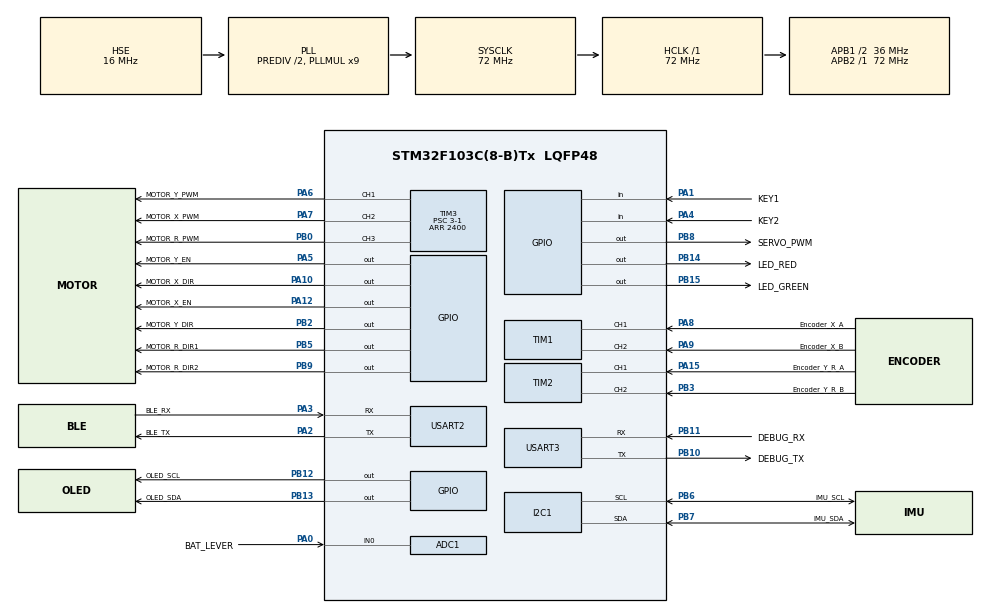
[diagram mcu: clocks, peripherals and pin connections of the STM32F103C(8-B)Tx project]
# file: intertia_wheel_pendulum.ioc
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ADC1.Channel-0\#ChannelRegularConversion=ADC_CHANNEL_0
ADC1.NbrOfConversionFlag=1
ADC1.Rank-0\#ChannelRegularConversion=1
ADC1.SamplingTime-0\#ChannelRegularConversion=ADC_SAMPLETIME_1CYCLE_5
ADC1.master=1
I2C1.I2C_Mode=I2C_Fast
Mcu.Family=STM32F1
Mcu.Name=STM32F103C(8-B)Tx
Mcu.Package=LQFP48
NVIC.PriorityGroup=NVIC_PRIORITYGROUP_4
NVIC.TIM4_IRQn=true\:0\:0\:false\:false\:true\:true\:true
PA0-WKUP.GPIO_Label=BAT_LEVER
PA0-WKUP.Signal=ADCx_IN0
PA1.GPIO_Label=KEY1
PA1.GPIO_PuPd=GPIO_PULLUP
PA1.Signal=GPIO_Input
PA10.GPIO_Label=MOTOR_X_DIR
PA10.Signal=GPIO_Output
PA12.GPIO_Label=MOTOR_X_EN
PA12.Signal=GPIO_Output
PA13.Mode=Serial_Wire
PA13.Signal=SYS_JTMS-SWDIO
PA14.Mode=Serial_Wire
PA14.Signal=SYS_JTCK-SWCLK
PA15.GPIO_Label=Encoder_Y_R_A
PA15.Signal=S_TIM2_CH1_ETR
PA2.GPIO_Label=BLE_TX
PA2.Mode=Asynchronous
PA2.Signal=USART2_TX
PA3.GPIO_Label=BLE_RX
PA3.Mode=Asynchronous
PA3.Signal=USART2_RX
PA4.GPIO_Label=KEY2
PA4.GPIO_PuPd=GPIO_PULLUP
PA4.Signal=GPIO_Input
PA5.GPIO_Label=MOTOR_Y_EN
PA5.Signal=GPIO_Output
PA6.GPIO_Label=MOTOR_Y_PWM
PA6.Signal=S_TIM3_CH1
PA7.GPIO_Label=MOTOR_X_PWM
PA7.Signal=S_TIM3_CH2
PA8.GPIO_Label=Encoder_X_A
PA8.Signal=S_TIM1_CH1
PA9.GPIO_Label=Encoder_X_B
PA9.Signal=S_TIM1_CH2
PB0.GPIO_Label=MOTOR_R_PWM
PB0.Signal=S_TIM3_CH3
PB10.GPIO_Label=DEBUG_TX
PB10.Mode=Asynchronous
PB10.Signal=USART3_TX
PB11.GPIO_Label=DEBUG_RX
PB11.Mode=Asynchronous
PB11.Signal=USART3_RX
PB12.GPIO_Label=OLED_SCL
PB12.GPIO_ModeDefaultOutputPP=GPIO_MODE_OUTPUT_OD
PB12.Signal=GPIO_Output
PB13.GPIO_Label=OLED_SDA
PB13.GPIO_ModeDefaultOutputPP=GPIO_MODE_OUTPUT_OD
PB13.Signal=GPIO_Output
PB14.GPIO_Label=LED_RED
PB14.Signal=GPIO_Output
PB15.GPIO_Label=LED_GREEN
PB15.Signal=GPIO_Output
PB2.GPIO_Label=MOTOR_Y_DIR
PB2.Signal=GPIO_Output
PB3.GPIO_Label=Encoder_Y_R_B
PB3.Signal=S_TIM2_CH2
PB5.GPIO_Label=MOTOR_R_DIR1
PB5.Signal=GPIO_Output
PB6.GPIO_Label=IMU_SCL
PB6.Mode=I2C
PB6.Signal=I2C1_SCL
PB7.GPIO_Label=IMU_SDA
PB7.Mode=I2C
PB7.Signal=I2C1_SDA
PB8.GPIO_Label=SERVO_PWM
PB8.Signal=GPIO_Output
PB9.GPIO_Label=MOTOR_R_DIR2
PB9.Signal=GPIO_Output
PD0-OSC_IN.Mode=HSE-External-Oscillator
PD0-OSC_IN.Signal=RCC_OSC_IN
PD1-OSC_OUT.Mode=HSE-External-Oscillator
PD1-OSC_OUT.Signal=RCC_OSC_OUT
ProjectManager.HeapSize=0x200
ProjectManager.StackSize=0x400
ProjectManager.TargetToolchain=MDK-ARM V5.27
RCC.ADCPresc=RCC_ADCPCLK2_DIV6
RCC.AHBFreq_Value=72000000
RCC.APB1CLKDivider=RCC_HCLK_DIV2
RCC.APB1Freq_Value=36000000
RCC.APB1TimFreq_Value=72000000
RCC.APB2Freq_Value=72000000
RCC.APB2TimFreq_Value=72000000
RCC.HCLKFreq_Value=72000000
RCC.HSEDivPLL=RCC_HSE_PREDIV_DIV2
RCC.HSE_VALUE=16000000
RCC.PLLMUL=RCC_PLL_MUL9
RCC.PLLSourceVirtual=RCC_PLLSOURCE_HSE
RCC.SYSCLKFreq_VALUE=72000000
RCC.SYSCLKSource=RCC_SYSCLKSOURCE_PLLCLK
RCC.USBFreq_Value=72000000
SH.ADCx_IN0.0=ADC1_IN0,IN0
SH.S_TIM1_CH1.0=TIM1_CH1,Encoder_Interface
SH.S_TIM1_CH2.0=TIM1_CH2,Encoder_Interface
SH.S_TIM2_CH1_ETR.0=TIM2_CH1,Encoder_Interface
SH.S_TIM2_CH2.0=TIM2_CH2,Encoder_Interface
SH.S_TIM3_CH1.0=TIM3_CH1,PWM Generation1 CH1
SH.S_TIM3_CH2.0=TIM3_CH2,PWM Generation2 CH2
SH.S_TIM3_CH3.0=TIM3_CH3,PWM Generation3 CH3
TIM3.Channel-PWM\ Generation1\ CH1=TIM_CHANNEL_1
TIM3.Channel-PWM\ Generation2\ CH2=TIM_CHANNEL_2
TIM3.Channel-PWM\ Generation3\ CH3=TIM_CHANNEL_3
TIM3.Period=2400
TIM3.Prescaler=3-1
TIM4.Period=1000
TIM4.Prescaler=72-1
USART2.VirtualMode=VM_ASYNC
USART3.VirtualMode=VM_ASYNC
VP_TIM4_VS_ClockSourceINT.Mode=Internal
board=custom

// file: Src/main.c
/* USER CODE BEGIN Header */
/**
  ******************************************************************************
  * @file           : main.c
  * @brief          : Main program body
  ******************************************************************************
  * @attention
  *
  * <h2><center>&copy; Copyright (c) 2020 STMicroelectronics.
  * All rights reserved.</center></h2>
  *
  * This software component is licensed by ST under BSD 3-Clause license,
  * the "License"; You may not use this file except in compliance with the
  * License. You may obtain a copy of the License at:
  *                        opensource.org/licenses/BSD-3-Clause
  *
  ******************************************************************************
  */
/* USER CODE END Header */
#include "main.h"

/* USER CODE BEGIN Includes */
#include "sdk_include.h"
#include "system_adapter.h"

#include "motor_ctrl.h"
/* USER CODE END Includes */

ADC_HandleTypeDef hadc1;

I2C_HandleTypeDef hi2c1;

TIM_HandleTypeDef htim1;
TIM_HandleTypeDef htim2;
TIM_HandleTypeDef htim3;
TIM_HandleTypeDef htim4;

UART_HandleTypeDef huart2;
UART_HandleTypeDef huart3;

void SystemClock_Config(void);
static void MX_GPIO_Init(void);
static void MX_ADC1_Init(void);
static void MX_TIM1_Init(void);
static void MX_TIM2_Init(void);
static void MX_TIM3_Init(void);
static void MX_TIM4_Init(void);
static void MX_USART2_UART_Init(void);
static void MX_I2C1_Init(void);
static void MX_USART3_UART_Init(void);

int main(void)
{

    /* MCU Configuration--------------------------------------------------------*/

    /* Reset of all peripherals, Initializes the Flash interface and the Systick. */
    HAL_Init();

    /* Configure the system clock */
    SystemClock_Config();

    /* Initialize all configured peripherals */
    MX_GPIO_Init();
    MX_ADC1_Init();
    MX_TIM1_Init();
    MX_TIM2_Init();
    MX_TIM3_Init();
    MX_TIM4_Init();
    MX_USART2_UART_Init();
    MX_I2C1_Init();
    MX_USART3_UART_Init();
    /* USER CODE BEGIN 2 */
    delay_adapter_init(&g_delay_adapter);
    key_adapter_init(&g_key_adapter);
    led_adapter_init(&g_led_adapter);
    mpu6050_adapter_init(&g_mpu6050_adapter);
    oled_adapter_init(&g_oled_adapter);
    motor_adapter_init(&g_motor_adapter);

    HAL_TIM_Base_Start_IT(&htim4);
    /* USER CODE END 2 */

    /* Infinite loop */
    /* USER CODE BEGIN WHILE */
    OLED_ColorTurn(0);//0������ʾ��1 ��ɫ��ʾ
    OLED_DisplayTurn(0);//0������ʾ 1 ��Ļ��ת��ʾ
    OLED_ShowString(20, 0,"Balance",8,1);
    OLED_ShowString(25, 8,"Board",8,1);
    OLED_ShowString(34, 16,"YJ",8,1);
    OLED_Refresh();

//    motor_pwm_set(MOTOR_NO_X, 300);
//    motor_pwm_set(MOTOR_NO_Y, 300);

//    bool dir = 0;

    while (1)
    {
//        dir = !dir;
//        motor_dir(MOTOR_NO_X, dir);
//        motor_dir(MOTOR_NO_Y, dir);

        set_led_state(0, true);
        sdk_delay_ms(1);
        set_led_state(0, false);
        sdk_delay_ms(999);

        OLED_ShowString(55, 24,"*",8,1);
        sdk_delay_ms(500);
        OLED_Refresh();
        OLED_ShowString(55, 24," ",8,1);
        sdk_delay_ms(500);
        OLED_Refresh();
        /* USER CODE END WHILE */

    }
}

/* USER CODE BEGIN 0 */
void HAL_TIM_PeriodElapsedCallback(TIM_HandleTypeDef *htim)
{
    get_att(100);

    speed_control(0);
    angle_control(0);

    speed_control(1);
    angle_control(1);
}
/* USER CODE END 0 */

void SystemClock_Config(void)
{
    RCC_OscInitTypeDef RCC_OscInitStruct = {0};
    RCC_ClkInitTypeDef RCC_ClkInitStruct = {0};
    RCC_PeriphCLKInitTypeDef PeriphClkInit = {0};

    /** Initializes the RCC Oscillators according to the specified parameters
    * in the RCC_OscInitTypeDef structure.
    */
    RCC_OscInitStruct.OscillatorType = RCC_OSCILLATORTYPE_HSE;
    RCC_OscInitStruct.HSEState = RCC_HSE_ON;
    RCC_OscInitStruct.HSEPredivValue = RCC_HSE_PREDIV_DIV2;
    RCC_OscInitStruct.HSIState = RCC_HSI_ON;
    RCC_OscInitStruct.PLL.PLLState = RCC_PLL_ON;
    RCC_OscInitStruct.PLL.PLLSource = RCC_PLLSOURCE_HSE;
    RCC_OscInitStruct.PLL.PLLMUL = RCC_PLL_MUL9;
    if (HAL_RCC_OscConfig(&RCC_OscInitStruct) != HAL_OK)
    {
        Error_Handler();
    }
    /** Initializes the CPU, AHB and APB buses clocks
    */
    RCC_ClkInitStruct.ClockType = RCC_CLOCKTYPE_HCLK|RCC_CLOCKTYPE_SYSCLK
                                  |RCC_CLOCKTYPE_PCLK1|RCC_CLOCKTYPE_PCLK2;
    RCC_ClkInitStruct.SYSCLKSource = RCC_SYSCLKSOURCE_PLLCLK;
    RCC_ClkInitStruct.AHBCLKDivider = RCC_SYSCLK_DIV1;
    RCC_ClkInitStruct.APB1CLKDivider = RCC_HCLK_DIV2;
    RCC_ClkInitStruct.APB2CLKDivider = RCC_HCLK_DIV1;

    if (HAL_RCC_ClockConfig(&RCC_ClkInitStruct, FLASH_LATENCY_2) != HAL_OK)
    {
        Error_Handler();
    }
    PeriphClkInit.PeriphClockSelection = RCC_PERIPHCLK_ADC;
    PeriphClkInit.AdcClockSelection = RCC_ADCPCLK2_DIV6;
    if (HAL_RCCEx_PeriphCLKConfig(&PeriphClkInit) != HAL_OK)
    {
        Error_Handler();
    }
}

static void MX_ADC1_Init(void)
{

    ADC_ChannelConfTypeDef sConfig = {0};

    /** Common config
    */
    hadc1.Instance = ADC1;
    hadc1.Init.ScanConvMode = ADC_SCAN_DISABLE;
    hadc1.Init.ContinuousConvMode = DISABLE;
    hadc1.Init.DiscontinuousConvMode = DISABLE;
    hadc1.Init.ExternalTrigConv = ADC_SOFTWARE_START;
    hadc1.Init.DataAlign = ADC_DATAALIGN_RIGHT;
    hadc1.Init.NbrOfConversion = 1;
    if (HAL_ADC_Init(&hadc1) != HAL_OK)
    {
        Error_Handler();
    }
    /** Configure Regular Channel
    */
    sConfig.Channel = ADC_CHANNEL_0;
    sConfig.Rank = ADC_REGULAR_RANK_1;
    sConfig.SamplingTime = ADC_SAMPLETIME_1CYCLE_5;
    if (HAL_ADC_ConfigChannel(&hadc1, &sConfig) != HAL_OK)
    {
        Error_Handler();
    }

}

static void MX_I2C1_Init(void)
{

    hi2c1.Instance = I2C1;
    hi2c1.Init.ClockSpeed = 400000;
    hi2c1.Init.DutyCycle = I2C_DUTYCYCLE_2;
    hi2c1.Init.OwnAddress1 = 0;
    hi2c1.Init.AddressingMode = I2C_ADDRESSINGMODE_7BIT;
    hi2c1.Init.DualAddressMode = I2C_DUALADDRESS_DISABLE;
    hi2c1.Init.OwnAddress2 = 0;
    hi2c1.Init.GeneralCallMode = I2C_GENERALCALL_DISABLE;
    hi2c1.Init.NoStretchMode = I2C_NOSTRETCH_DISABLE;
    if (HAL_I2C_Init(&hi2c1) != HAL_OK)
    {
        Error_Handler();
    }

}

static void MX_TIM1_Init(void)
{

    TIM_Encoder_InitTypeDef sConfig = {0};
    TIM_MasterConfigTypeDef sMasterConfig = {0};

    htim1.Instance = TIM1;
    htim1.Init.Prescaler = 0;
    htim1.Init.CounterMode = TIM_COUNTERMODE_UP;
    htim1.Init.Period = 65535;
    htim1.Init.ClockDivision = TIM_CLOCKDIVISION_DIV1;
    htim1.Init.RepetitionCounter = 0;
    htim1.Init.AutoReloadPreload = TIM_AUTORELOAD_PRELOAD_DISABLE;
    sConfig.EncoderMode = TIM_ENCODERMODE_TI1;
    sConfig.IC1Polarity = TIM_ICPOLARITY_RISING;
    sConfig.IC1Selection = TIM_ICSELECTION_DIRECTTI;
    sConfig.IC1Prescaler = TIM_ICPSC_DIV1;
    sConfig.IC1Filter = 0;
    sConfig.IC2Polarity = TIM_ICPOLARITY_RISING;
    sConfig.IC2Selection = TIM_ICSELECTION_DIRECTTI;
    sConfig.IC2Prescaler = TIM_ICPSC_DIV1;
    sConfig.IC2Filter = 0;
    if (HAL_TIM_Encoder_Init(&htim1, &sConfig) != HAL_OK)
    {
        Error_Handler();
    }
    sMasterConfig.MasterOutputTrigger = TIM_TRGO_RESET;
    sMasterConfig.MasterSlaveMode = TIM_MASTERSLAVEMODE_DISABLE;
    if (HAL_TIMEx_MasterConfigSynchronization(&htim1, &sMasterConfig) != HAL_OK)
    {
        Error_Handler();
    }
    /* USER CODE BEGIN TIM1_Init 2 */
    HAL_TIM_Encoder_Start(&htim1, TIM_CHANNEL_ALL);
    /* USER CODE END TIM1_Init 2 */

}

static void MX_TIM2_Init(void)
{

    TIM_Encoder_InitTypeDef sConfig = {0};
    TIM_MasterConfigTypeDef sMasterConfig = {0};

    htim2.Instance = TIM2;
    htim2.Init.Prescaler = 0;
    htim2.Init.CounterMode = TIM_COUNTERMODE_UP;
    htim2.Init.Period = 65535;
    htim2.Init.ClockDivision = TIM_CLOCKDIVISION_DIV1;
    htim2.Init.AutoReloadPreload = TIM_AUTORELOAD_PRELOAD_DISABLE;
    sConfig.EncoderMode = TIM_ENCODERMODE_TI1;
    sConfig.IC1Polarity = TIM_ICPOLARITY_RISING;
    sConfig.IC1Selection = TIM_ICSELECTION_DIRECTTI;
    sConfig.IC1Prescaler = TIM_ICPSC_DIV1;
    sConfig.IC1Filter = 0;
    sConfig.IC2Polarity = TIM_ICPOLARITY_RISING;
    sConfig.IC2Selection = TIM_ICSELECTION_DIRECTTI;
    sConfig.IC2Prescaler = TIM_ICPSC_DIV1;
    sConfig.IC2Filter = 0;
    if (HAL_TIM_Encoder_Init(&htim2, &sConfig) != HAL_OK)
    {
        Error_Handler();
    }
    sMasterConfig.MasterOutputTrigger = TIM_TRGO_RESET;
    sMasterConfig.MasterSlaveMode = TIM_MASTERSLAVEMODE_DISABLE;
    if (HAL_TIMEx_MasterConfigSynchronization(&htim2, &sMasterConfig) != HAL_OK)
    {
        Error_Handler();
    }
    /* USER CODE BEGIN TIM2_Init 2 */
    HAL_TIM_Encoder_Start(&htim2, TIM_CHANNEL_ALL);
    /* USER CODE END TIM2_Init 2 */

}

static void MX_TIM3_Init(void)
{

    TIM_MasterConfigTypeDef sMasterConfig = {0};
    TIM_OC_InitTypeDef sConfigOC = {0};

    htim3.Instance = TIM3;
    htim3.Init.Prescaler = 3-1;
    htim3.Init.CounterMode = TIM_COUNTERMODE_UP;
    htim3.Init.Period = 2400;
    htim3.Init.ClockDivision = TIM_CLOCKDIVISION_DIV1;
    htim3.Init.AutoReloadPreload = TIM_AUTORELOAD_PRELOAD_DISABLE;
    if (HAL_TIM_PWM_Init(&htim3) != HAL_OK)
    {
        Error_Handler();
    }
    sMasterConfig.MasterOutputTrigger = TIM_TRGO_RESET;
    sMasterConfig.MasterSlaveMode = TIM_MASTERSLAVEMODE_DISABLE;
    if (HAL_TIMEx_MasterConfigSynchronization(&htim3, &sMasterConfig) != HAL_OK)
    {
        Error_Handler();
    }
    sConfigOC.OCMode = TIM_OCMODE_PWM1;
    sConfigOC.Pulse = 0;
    sConfigOC.OCPolarity = TIM_OCPOLARITY_LOW;
    sConfigOC.OCFastMode = TIM_OCFAST_DISABLE;
    if (HAL_TIM_PWM_ConfigChannel(&htim3, &sConfigOC, TIM_CHANNEL_1) != HAL_OK)
    {
        Error_Handler();
    }
    if (HAL_TIM_PWM_ConfigChannel(&htim3, &sConfigOC, TIM_CHANNEL_2) != HAL_OK)
    {
        Error_Handler();
    }
    if (HAL_TIM_PWM_ConfigChannel(&htim3, &sConfigOC, TIM_CHANNEL_3) != HAL_OK)
    {
        Error_Handler();
    }
    /* USER CODE BEGIN TIM3_Init 2 */
    HAL_TIM_PWM_Start(&htim3, TIM_CHANNEL_1);
    HAL_TIM_PWM_Start(&htim3, TIM_CHANNEL_2);
    HAL_TIM_PWM_Start(&htim3, TIM_CHANNEL_3);
    /* USER CODE END TIM3_Init 2 */
    HAL_TIM_MspPostInit(&htim3);

}

static void MX_TIM4_Init(void)
{

    TIM_ClockConfigTypeDef sClockSourceConfig = {0};
    TIM_MasterConfigTypeDef sMasterConfig = {0};

    htim4.Instance = TIM4;
    htim4.Init.Prescaler = 72-1;
    htim4.Init.CounterMode = TIM_COUNTERMODE_UP;
    htim4.Init.Period = 1000;
    htim4.Init.ClockDivision = TIM_CLOCKDIVISION_DIV1;
    htim4.Init.AutoReloadPreload = TIM_AUTORELOAD_PRELOAD_DISABLE;
    if (HAL_TIM_Base_Init(&htim4) != HAL_OK)
    {
        Error_Handler();
    }
    sClockSourceConfig.ClockSource = TIM_CLOCKSOURCE_INTERNAL;
    if (HAL_TIM_ConfigClockSource(&htim4, &sClockSourceConfig) != HAL_OK)
    {
        Error_Handler();
    }
    sMasterConfig.MasterOutputTrigger = TIM_TRGO_RESET;
    sMasterConfig.MasterSlaveMode = TIM_MASTERSLAVEMODE_DISABLE;
    if (HAL_TIMEx_MasterConfigSynchronization(&htim4, &sMasterConfig) != HAL_OK)
    {
        Error_Handler();
    }

}

static void MX_USART2_UART_Init(void)
{

    huart2.Instance = USART2;
    huart2.Init.BaudRate = 115200;
    huart2.Init.WordLength = UART_WORDLENGTH_8B;
    huart2.Init.StopBits = UART_STOPBITS_1;
    huart2.Init.Parity = UART_PARITY_NONE;
    huart2.Init.Mode = UART_MODE_TX_RX;
    huart2.Init.HwFlowCtl = UART_HWCONTROL_NONE;
    huart2.Init.OverSampling = UART_OVERSAMPLING_16;
    if (HAL_UART_Init(&huart2) != HAL_OK)
    {
        Error_Handler();
    }

}

static void MX_USART3_UART_Init(void)
{

    huart3.Instance = USART3;
    huart3.Init.BaudRate = 115200;
    huart3.Init.WordLength = UART_WORDLENGTH_8B;
    huart3.Init.StopBits = UART_STOPBITS_1;
    huart3.Init.Parity = UART_PARITY_NONE;
    huart3.Init.Mode = UART_MODE_TX_RX;
    huart3.Init.HwFlowCtl = UART_HWCONTROL_NONE;
    huart3.Init.OverSampling = UART_OVERSAMPLING_16;
    if (HAL_UART_Init(&huart3) != HAL_OK)
    {
        Error_Handler();
    }

}

static void MX_GPIO_Init(void)
{
    GPIO_InitTypeDef GPIO_InitStruct = {0};

    /* GPIO Ports Clock Enable */
    __HAL_RCC_GPIOD_CLK_ENABLE();
    __HAL_RCC_GPIOA_CLK_ENABLE();
    __HAL_RCC_GPIOB_CLK_ENABLE();

    /*Configure GPIO pin Output Level */
    HAL_GPIO_WritePin(GPIOA, MOTOR_Y_EN_Pin|MOTOR_X_DIR_Pin|MOTOR_X_EN_Pin, GPIO_PIN_RESET);

    /*Configure GPIO pin Output Level */
    HAL_GPIO_WritePin(GPIOB, MOTOR_Y_DIR_Pin|OLED_SCL_Pin|OLED_SDA_Pin|LED_RED_Pin
                      |LED_GREEN_Pin|MOTOR_R_DIR1_Pin|SERVO_PWM_Pin|MOTOR_R_DIR2_Pin, GPIO_PIN_RESET);

    /*Configure GPIO pins : KEY1_Pin KEY2_Pin */
    GPIO_InitStruct.Pin = KEY1_Pin|KEY2_Pin;
    GPIO_InitStruct.Mode = GPIO_MODE_INPUT;
    GPIO_InitStruct.Pull = GPIO_PULLUP;
    HAL_GPIO_Init(GPIOA, &GPIO_InitStruct);

    /*Configure GPIO pins : MOTOR_Y_EN_Pin MOTOR_X_DIR_Pin MOTOR_X_EN_Pin */
    GPIO_InitStruct.Pin = MOTOR_Y_EN_Pin|MOTOR_X_DIR_Pin|MOTOR_X_EN_Pin;
    GPIO_InitStruct.Mode = GPIO_MODE_OUTPUT_PP;
    GPIO_InitStruct.Pull = GPIO_NOPULL;
    GPIO_InitStruct.Speed = GPIO_SPEED_FREQ_LOW;
    HAL_GPIO_Init(GPIOA, &GPIO_InitStruct);

    /*Configure GPIO pins : MOTOR_Y_DIR_Pin LED_RED_Pin LED_GREEN_Pin MOTOR_R_DIR1_Pin
                             SERVO_PWM_Pin MOTOR_R_DIR2_Pin */
    GPIO_InitStruct.Pin = MOTOR_Y_DIR_Pin|LED_RED_Pin|LED_GREEN_Pin|MOTOR_R_DIR1_Pin
                          |SERVO_PWM_Pin|MOTOR_R_DIR2_Pin;
    GPIO_InitStruct.Mode = GPIO_MODE_OUTPUT_PP;
    GPIO_InitStruct.Pull = GPIO_NOPULL;
    GPIO_InitStruct.Speed = GPIO_SPEED_FREQ_LOW;
    HAL_GPIO_Init(GPIOB, &GPIO_InitStruct);

    /*Configure GPIO pins : OLED_SCL_Pin OLED_SDA_Pin */
    GPIO_InitStruct.Pin = OLED_SCL_Pin|OLED_SDA_Pin;
    GPIO_InitStruct.Mode = GPIO_MODE_OUTPUT_PP;
    GPIO_InitStruct.Pull = GPIO_NOPULL;
    GPIO_InitStruct.Speed = GPIO_SPEED_FREQ_LOW;
    HAL_GPIO_Init(GPIOB, &GPIO_InitStruct);

}

void Error_Handler(void)
{
}

/************************ (C) COPYRIGHT STMicroelectronics *****END OF FILE****/
